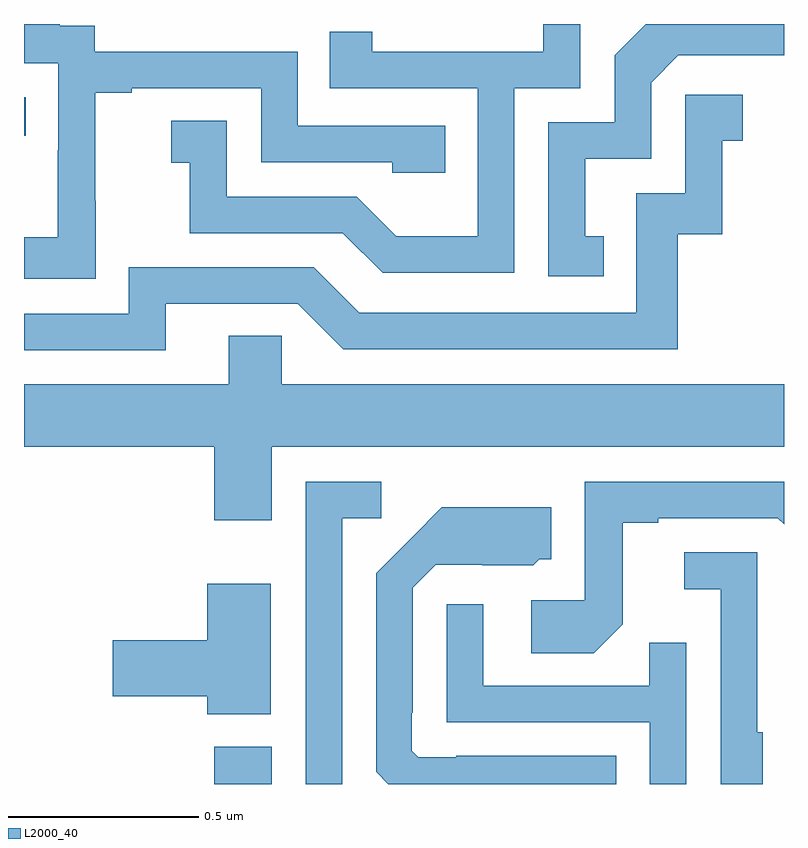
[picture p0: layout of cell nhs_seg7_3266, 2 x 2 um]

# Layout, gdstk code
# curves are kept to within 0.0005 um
import gdstk
lib = gdstk.Library(unit=1e-6, precision=1e-09)
def R(c, l, rs):  # rectangles x0, y0, x1, y1
    for r in rs: c.add(gdstk.rectangle(r[:2], r[2:], *l))
def P(c, l, *ps):  # polygons
    for p in ps: c.add(gdstk.Polygon(p, *l))
L2000_40 = (2000, 40)

nhs_seg7_3266 = lib.new_cell('nhs_seg7_3266')
R(nhs_seg7_3266, L2000_40, [(156.5,1061,156.652,1061.098), (156,1062.706,156.005,1062.807)])
P(nhs_seg7_3266, L2000_40, [(157.29,1062.831),(157.464,1062.831),(157.464,1063),(157.367,1063),(157.367,1062.927),(156.916,1062.927),(156.916,1062.979),(156.805,1062.979),(156.805,1062.831),(157.194,1062.831),(157.194,1062.442),(156.98,1062.442),(156.876,1062.546),(156.534,1062.546),(156.534,1062.745),(156.387,1062.745),(156.387,1062.635),(156.436,1062.635),(156.436,1062.45),(156.839,1062.45),(156.944,1062.345),(157.29,1062.345)],
  [(156.189,1062.535),(156.188,1062.535),(156.188,1062.819),(156.283,1062.819),(156.283,1062.831),(156.624,1062.831),(156.624,1062.636),(156.969,1062.636),(156.969,1062.609),(157.109,1062.609),(157.109,1062.732),(156.72,1062.732),(156.72,1062.927),(156.186,1062.927),(156.186,1062.996),(156.094,1062.996),(156.094,1063),(156,1063),(156,1062.897),(156.09,1062.897),(156.09,1062.668),(156.089,1062.668),(156.089,1062.439),(156,1062.439),(156,1062.329),(156.189,1062.329)],
  [(157.526,1062.441),(157.477,1062.441),(157.477,1062.645),(157.65,1062.645),(157.65,1062.846),(157.722,1062.918),(158,1062.918),(158,1063),(157.636,1063),(157.554,1062.918),(157.554,1062.741),(157.38,1062.741),(157.38,1062.336),(157.526,1062.336)],
  [(156.373,1062.264),(156.72,1062.264),(156.84,1062.144),(157.72,1062.144),(157.72,1062.447),(157.838,1062.447),(157.838,1062.693),(157.891,1062.693),(157.891,1062.814),(157.74,1062.814),(157.74,1062.555),(157.611,1062.555),(157.611,1062.24),(156.882,1062.24),(156.762,1062.36),(156.276,1062.36),(156.276,1062.237),(156,1062.237),(156,1062.141),(156.373,1062.141)],
  [(156.652,1061.888),(158,1061.888),(158,1062.052),(156.678,1062.052),(156.678,1062.179),(156.539,1062.179),(156.539,1062.052),(156,1062.052),(156,1061.888),(156.5,1061.888),(156.5,1061.694),(156.652,1061.694)],
  [(157.575,1061.42),(157.575,1061.688),(157.669,1061.688),(157.669,1061.7),(157.983,1061.7),(158,1061.683),(158,1061.796),(157.476,1061.796),(157.476,1061.484),(157.335,1061.484),(157.335,1061.344),(157.499,1061.344)],
  [(156.837,1061.7),(156.94,1061.7),(156.94,1061.796),(156.741,1061.796),(156.741,1061),(156.837,1061)],
  [(157.558,1061.074),(157.138,1061.074),(157.138,1061.07),(157.038,1061.07),(157.02,1061.088),(157.02,1061.188),(157.023,1061.188),(157.023,1061.517),(157.083,1061.577),(157.206,1061.577),(157.206,1061.576),(157.34,1061.576),(157.356,1061.592),(157.387,1061.592),(157.387,1061.728),(157.099,1061.728),(156.927,1061.554),(156.927,1061.032),(156.959,1061),(157.558,1061)],
  [(157.944,1061.136),(157.929,1061.136),(157.929,1061.61),(157.737,1061.61),(157.737,1061.513),(157.833,1061.513),(157.833,1061),(157.944,1061)],
  [(156.649,1061.527),(156.482,1061.527),(156.482,1061.378),(156.234,1061.378),(156.234,1061.231),(156.482,1061.231),(156.482,1061.183),(156.649,1061.183)],
  [(157.743,1061.372),(157.645,1061.372),(157.645,1061.259),(157.209,1061.259),(157.209,1061.473),(157.113,1061.473),(157.113,1061.163),(157.647,1061.163),(157.647,1061),(157.743,1061)])

lib.write_gds('nhs_seg7_3266.gds')
